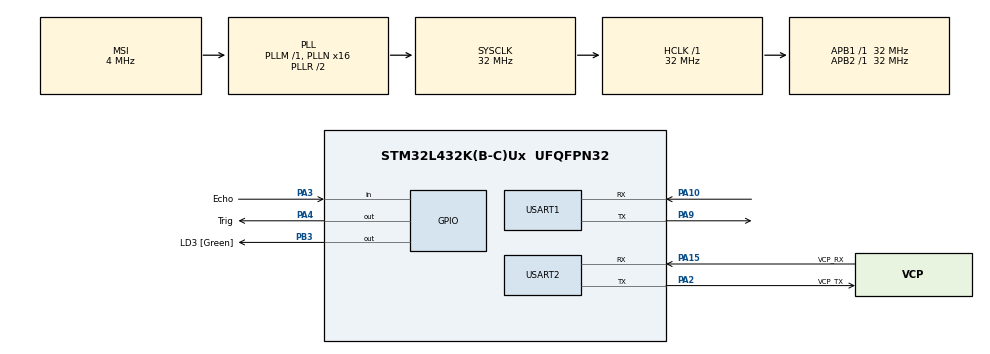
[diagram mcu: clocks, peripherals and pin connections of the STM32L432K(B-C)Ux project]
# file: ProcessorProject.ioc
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Mcu.Family=STM32L4
Mcu.Name=STM32L432K(B-C)Ux
Mcu.Package=UFQFPN32
NVIC.PriorityGroup=NVIC_PRIORITYGROUP_4
NVIC.USART1_IRQn=true\:0\:0\:false\:false\:true\:true\:true\:true
NVIC.USART2_IRQn=true\:1\:0\:true\:false\:true\:true\:true\:true
PA0.GPIO_Label=MCO [High speed clock in]
PA0.Mode=HSE-External-Clock-Source-for-LittleOrca
PA0.Signal=RCC_CK_IN
PA10.Mode=Asynchronous
PA10.Signal=USART1_RX
PA13\ (JTMS-SWDIO).GPIO_Label=SWDIO
PA13\ (JTMS-SWDIO).Mode=Serial_Wire
PA13\ (JTMS-SWDIO).Signal=SYS_JTMS-SWDIO
PA14\ (JTCK-SWCLK).GPIO_Label=SWCLK
PA14\ (JTCK-SWCLK).Mode=Serial_Wire
PA14\ (JTCK-SWCLK).Signal=SYS_JTCK-SWCLK
PA15\ (JTDI).GPIO_Label=VCP_RX
PA15\ (JTDI).Mode=Asynchronous
PA15\ (JTDI).Signal=USART2_RX
PA2.GPIO_Label=VCP_TX
PA2.Mode=Asynchronous
PA2.Signal=USART2_TX
PA3.GPIO_Label=Echo
PA3.Signal=GPIO_Input
PA4.GPIO_Label=Trig
PA4.Signal=GPIO_Output
PA9.Mode=Asynchronous
PA9.Signal=USART1_TX
PB3\ (JTDO-TRACESWO).GPIO_Label=LD3 [Green]
PB3\ (JTDO-TRACESWO).Signal=GPIO_Output
PC14-OSC32_IN\ (PC14).Mode=LSE-External-Oscillator
PC14-OSC32_IN\ (PC14).Signal=RCC_OSC32_IN
PC15-OSC32_OUT\ (PC15).Mode=LSE-External-Oscillator
PC15-OSC32_OUT\ (PC15).Signal=RCC_OSC32_OUT
ProjectManager.HeapSize=0x200
ProjectManager.StackSize=0x400
ProjectManager.TargetToolchain=STM32CubeIDE
RCC.AHBFreq_Value=32000000
RCC.APB1Freq_Value=32000000
RCC.APB1TimFreq_Value=32000000
RCC.APB2Freq_Value=32000000
RCC.APB2TimFreq_Value=32000000
RCC.CortexFreq_Value=32000000
RCC.HCLKFreq_Value=32000000
RCC.HSE_VALUE=8000000
RCC.HSI16_VALUE=16000000
RCC.HSI48_VALUE=48000000
RCC.HSI_VALUE=16000000
RCC.MSI_VALUE=4000000
RCC.PLLMUL=RCC_PLLMUL_4
RCC.PLLN=16
RCC.SYSCLKFreq_VALUE=32000000
RCC.SYSCLKSource=RCC_SYSCLKSOURCE_PLLCLK
RCC.VCOOutputFreq_Value=64000000
USART1.VirtualMode-Asynchronous=VM_ASYNC
USART2.VirtualMode-Asynchronous=VM_ASYNC
board=NUCLEO-L432KC

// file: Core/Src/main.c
/* USER CODE BEGIN Header */
/**
  ******************************************************************************
  * @file           : main.c
  * @brief          : Main program body
  ******************************************************************************
  * @attention
  *
  * Copyright (c) 2025 STMicroelectronics.
  * All rights reserved.
  *
  * This software is licensed under terms that can be found in the LICENSE file
  * in the root directory of this software component.
  * If no LICENSE file comes with this software, it is provided AS-IS.
  *
  ******************************************************************************
  */
/* USER CODE END Header */
#include "main.h"

/* USER CODE BEGIN PD */
#define BUFFER_SIZE  500
#define max_value 250 //outlier rejection maximum value
/* USER CODE END PD */

UART_HandleTypeDef huart1;
UART_HandleTypeDef huart2;

/* USER CODE BEGIN PV */
uint8_t rxBuf[BUFFER_SIZE];
uint8_t txBuf[BUFFER_SIZE+1];
uint8_t last_sample = 0;  // history for moving average

/* USER CODE END PV */

void SystemClock_Config(void);
static void MX_GPIO_Init(void);
static void MX_USART2_UART_Init(void);
static void MX_USART1_UART_Init(void);

/* USER CODE BEGIN 0 */
uint8_t ult_count = 0; //counts iterations of buffers received for ultrasonic to be activated
uint8_t distance;
uint8_t in_range = 0; // true-false integer to determine audio capture
uint32_t timeout; ///timeout to prevent infinite looping

uint8_t buffer = 5;
uint8_t start_bit = 1;
uint8_t length;
uint8_t echo_started = 0;
/* USER CODE END 0 */

int main(void)
{

  /* MCU Configuration--------------------------------------------------------*/

  /* Reset of all peripherals, Initializes the Flash interface and the Systick. */
  HAL_Init();

  /* Configure the system clock */
  SystemClock_Config();

  /* Initialize all configured peripherals */
  MX_GPIO_Init();
  MX_USART2_UART_Init();
  MX_USART1_UART_Init();
  /* USER CODE BEGIN 2 */

  // start listening on UART1 for the very first byte
  HAL_UART_Receive_IT(&huart1, rxBuf, BUFFER_SIZE);
  //HAL_UART_Transmit_IT(&huart2, (uint8_t[]){0}, 0); // ensure USART2 ready (optional)

  /* USER CODE END 2 */

  /* Infinite loop */
  while (1)
  {

  }
}

void SystemClock_Config(void)
{
  RCC_OscInitTypeDef RCC_OscInitStruct = {0};
  RCC_ClkInitTypeDef RCC_ClkInitStruct = {0};

  /** Configure the main internal regulator output voltage
  */
  if (HAL_PWREx_ControlVoltageScaling(PWR_REGULATOR_VOLTAGE_SCALE1) != HAL_OK)
  {
    Error_Handler();
  }

  /** Configure LSE Drive Capability
  */
  HAL_PWR_EnableBkUpAccess();
  __HAL_RCC_LSEDRIVE_CONFIG(RCC_LSEDRIVE_LOW);

  /** Initializes the RCC Oscillators according to the specified parameters
  * in the RCC_OscInitTypeDef structure.
  */
  RCC_OscInitStruct.OscillatorType = RCC_OSCILLATORTYPE_LSE|RCC_OSCILLATORTYPE_MSI;
  RCC_OscInitStruct.LSEState = RCC_LSE_ON;
  RCC_OscInitStruct.MSIState = RCC_MSI_ON;
  RCC_OscInitStruct.MSICalibrationValue = 0;
  RCC_OscInitStruct.MSIClockRange = RCC_MSIRANGE_6;
  RCC_OscInitStruct.PLL.PLLState = RCC_PLL_ON;
  RCC_OscInitStruct.PLL.PLLSource = RCC_PLLSOURCE_MSI;
  RCC_OscInitStruct.PLL.PLLM = 1;
  RCC_OscInitStruct.PLL.PLLN = 16;
  RCC_OscInitStruct.PLL.PLLP = RCC_PLLP_DIV7;
  RCC_OscInitStruct.PLL.PLLQ = RCC_PLLQ_DIV2;
  RCC_OscInitStruct.PLL.PLLR = RCC_PLLR_DIV2;
  if (HAL_RCC_OscConfig(&RCC_OscInitStruct) != HAL_OK)
  {
    Error_Handler();
  }

  /** Initializes the CPU, AHB and APB buses clocks
  */
  RCC_ClkInitStruct.ClockType = RCC_CLOCKTYPE_HCLK|RCC_CLOCKTYPE_SYSCLK
                              |RCC_CLOCKTYPE_PCLK1|RCC_CLOCKTYPE_PCLK2;
  RCC_ClkInitStruct.SYSCLKSource = RCC_SYSCLKSOURCE_PLLCLK;
  RCC_ClkInitStruct.AHBCLKDivider = RCC_SYSCLK_DIV1;
  RCC_ClkInitStruct.APB1CLKDivider = RCC_HCLK_DIV1;
  RCC_ClkInitStruct.APB2CLKDivider = RCC_HCLK_DIV1;

  if (HAL_RCC_ClockConfig(&RCC_ClkInitStruct, FLASH_LATENCY_1) != HAL_OK)
  {
    Error_Handler();
  }

  /** Enable MSI Auto calibration
  */
  HAL_RCCEx_EnableMSIPLLMode();
}

static void MX_USART1_UART_Init(void)
{

  huart1.Instance = USART1;
  huart1.Init.BaudRate = 115200;
  huart1.Init.WordLength = UART_WORDLENGTH_8B;
  huart1.Init.StopBits = UART_STOPBITS_1;
  huart1.Init.Parity = UART_PARITY_NONE;
  huart1.Init.Mode = UART_MODE_TX_RX;
  huart1.Init.HwFlowCtl = UART_HWCONTROL_NONE;
  huart1.Init.OverSampling = UART_OVERSAMPLING_16;
  huart1.Init.OneBitSampling = UART_ONE_BIT_SAMPLE_DISABLE;
  huart1.AdvancedInit.AdvFeatureInit = UART_ADVFEATURE_NO_INIT;
  if (HAL_UART_Init(&huart1) != HAL_OK)
  {
    Error_Handler();
  }

}

static void MX_USART2_UART_Init(void)
{

  huart2.Instance = USART2;
  huart2.Init.BaudRate = 115200;
  huart2.Init.WordLength = UART_WORDLENGTH_8B;
  huart2.Init.StopBits = UART_STOPBITS_1;
  huart2.Init.Parity = UART_PARITY_NONE;
  huart2.Init.Mode = UART_MODE_TX_RX;
  huart2.Init.HwFlowCtl = UART_HWCONTROL_NONE;
  huart2.Init.OverSampling = UART_OVERSAMPLING_16;
  huart2.Init.OneBitSampling = UART_ONE_BIT_SAMPLE_DISABLE;
  huart2.AdvancedInit.AdvFeatureInit = UART_ADVFEATURE_NO_INIT;
  if (HAL_UART_Init(&huart2) != HAL_OK)
  {
    Error_Handler();
  }

}

static void MX_GPIO_Init(void)
{
  GPIO_InitTypeDef GPIO_InitStruct = {0};

  /* GPIO Ports Clock Enable */
  __HAL_RCC_GPIOC_CLK_ENABLE();
  __HAL_RCC_GPIOA_CLK_ENABLE();
  __HAL_RCC_GPIOB_CLK_ENABLE();

  /*Configure GPIO pin Output Level */
  HAL_GPIO_WritePin(Trig_GPIO_Port, Trig_Pin, GPIO_PIN_RESET);

  /*Configure GPIO pin Output Level */
  HAL_GPIO_WritePin(LD3_GPIO_Port, LD3_Pin, GPIO_PIN_RESET);

  /*Configure GPIO pin : Echo_Pin */
  GPIO_InitStruct.Pin = Echo_Pin;
  GPIO_InitStruct.Mode = GPIO_MODE_INPUT;
  GPIO_InitStruct.Pull = GPIO_NOPULL;
  HAL_GPIO_Init(Echo_GPIO_Port, &GPIO_InitStruct);

  /*Configure GPIO pin : Trig_Pin */
  GPIO_InitStruct.Pin = Trig_Pin;
  GPIO_InitStruct.Mode = GPIO_MODE_OUTPUT_PP;
  GPIO_InitStruct.Pull = GPIO_NOPULL;
  GPIO_InitStruct.Speed = GPIO_SPEED_FREQ_LOW;
  HAL_GPIO_Init(Trig_GPIO_Port, &GPIO_InitStruct);

  /*Configure GPIO pin : LD3_Pin */
  GPIO_InitStruct.Pin = LD3_Pin;
  GPIO_InitStruct.Mode = GPIO_MODE_OUTPUT_PP;
  GPIO_InitStruct.Pull = GPIO_NOPULL;
  GPIO_InitStruct.Speed = GPIO_SPEED_FREQ_LOW;
  HAL_GPIO_Init(LD3_GPIO_Port, &GPIO_InitStruct);

}

/* USER CODE BEGIN 4 */
void HAL_UART_RxCpltCallback(UART_HandleTypeDef *huart)
{
  if (huart->Instance == USART1)
  {
	  ult_count++;

    // Process each sample in rxBuf
	  for (uint16_t i = 0; i < BUFFER_SIZE; i++) {
	      uint8_t curr = rxBuf[i];

	      // one‐sided rejection of high‐value spikes
	      if (curr > max_value) {
	          curr = last_sample;    // or curr = MAX_VALID_SAMPLE;
	      }

	      // length‐2 moving average
	      txBuf[i+1] = (last_sample + curr) >> 1;
	      last_sample = curr;
	  }

    // Transmit the entire filtered block on USART2

    HAL_UART_Transmit_IT(&huart2, txBuf, BUFFER_SIZE+1);

    // Re-arm block receive on USART1
    HAL_UART_Receive_IT(&huart1, rxBuf, BUFFER_SIZE);

    if (ult_count >=5) {
    		  echo_started = 0;
    		  HAL_GPIO_WritePin(Trig_GPIO_Port, Trig_Pin, 1);
    		  __HAL_TIM_SET_COUNTER(&htim16, 0);

    		  timeout = 30000;
    		  while(timeout--){
    			  if(__HAL_TIM_GET_COUNTER(&htim16) >= 10){
    				  HAL_GPIO_WritePin(Trig_GPIO_Port, Trig_Pin, 0);
    				  break;
    			  }
    		  }
    		  timeout = 30000;
    		  while(timeout--){
    			  if(HAL_GPIO_ReadPin(Echo_GPIO_Port, Echo_Pin) == 1){
    				  __HAL_TIM_SET_COUNTER(&htim16, 0);
    				  echo_started = 1;
    				  break;
    			  }
    		  }
    		  timeout = 30000;
    		  if(echo_started == 1){
    			  while(timeout--){
    				  if(HAL_GPIO_ReadPin(Echo_GPIO_Port, Echo_Pin) == 0){
    					  distance = (__HAL_TIM_GET_COUNTER(&htim16)) / 58;
    					  if(in_range == 0){
    						  if(distance <= 20){
    							  in_range++;
    							  HAL_GPIO_WritePin(LD3_GPIO_Port, LD3_Pin, 1);
    						  }
    					  } else if(in_range == 1) {
    						  if(distance > 25){
    							  in_range = 0;
    							  HAL_GPIO_WritePin(LD3_GPIO_Port, LD3_Pin, 0);
    						  }
    					  }
    					  txBuf[0] = in_range;
    					  ult_count = 0;
    					  break;
    				  }
    			  }
    		  }
    	  }
  }
}

void HAL_UART_ErrorCallback(UART_HandleTypeDef *huart) {
  if (huart->Instance == USART1) {
    // clear overrun framing errors, then
    HAL_UART_Receive_IT(&huart1, rxBuf, BUFFER_SIZE);
  }
}
/* USER CODE END 4 */

void Error_Handler(void)
{
  __disable_irq();
  while (1)
  {
  }
}
